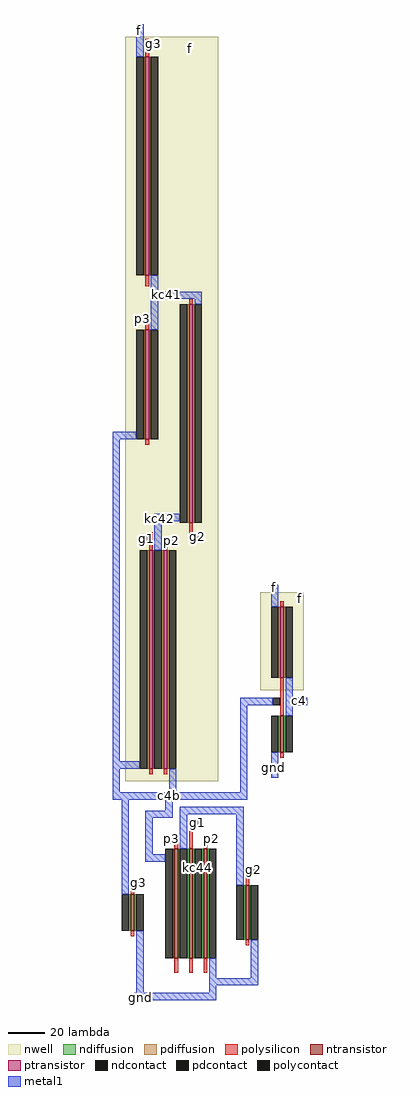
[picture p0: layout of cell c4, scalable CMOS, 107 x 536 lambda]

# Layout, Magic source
magic
tech scmos
<< nwell >>
rect -32 -266 19 143
rect 42 -216 66 -162
<< ntransistor >>
rect 53 -250 55 -230
rect -29 -348 -27 -328
rect -5 -363 -3 -303
rect 3 -363 5 -303
rect 11 -363 13 -303
rect 34 -353 36 -323
<< ptransistor >>
rect -21 12 -19 132
rect -21 -78 -19 -18
rect 3 -124 5 -4
rect -19 -259 -17 -139
rect -11 -259 -9 -139
rect 53 -209 55 -170
<< ndiffusion >>
rect 52 -250 53 -230
rect 55 -250 56 -230
rect -30 -348 -29 -328
rect -27 -348 -26 -328
rect -6 -363 -5 -303
rect -3 -363 -2 -303
rect 2 -363 3 -303
rect 5 -363 6 -303
rect 10 -363 11 -303
rect 13 -363 14 -303
rect 33 -353 34 -323
rect 36 -353 37 -323
<< pdiffusion >>
rect -22 12 -21 132
rect -19 12 -18 132
rect -22 -78 -21 -18
rect -19 -78 -18 -18
rect 2 -124 3 -4
rect 5 -124 6 -4
rect -20 -259 -19 -139
rect -17 -259 -16 -139
rect -12 -259 -11 -139
rect -9 -259 -8 -139
rect 52 -209 53 -170
rect 55 -209 56 -170
<< ndcontact >>
rect 48 -250 52 -230
rect 56 -250 60 -230
rect -34 -348 -30 -328
rect -26 -348 -22 -328
rect -10 -363 -6 -303
rect -2 -363 2 -303
rect 6 -363 10 -303
rect 14 -363 18 -303
rect 29 -353 33 -323
rect 37 -353 41 -323
<< pdcontact >>
rect -26 12 -22 132
rect -18 12 -14 132
rect -26 -78 -22 -18
rect -18 -78 -14 -18
rect -2 -124 2 -4
rect 6 -124 10 -4
rect -24 -259 -20 -139
rect -16 -259 -12 -139
rect -8 -259 -4 -139
rect 48 -209 52 -170
rect 56 -209 60 -170
<< polysilicon >>
rect -21 132 -19 142
rect -21 6 -19 12
rect 3 -4 5 -1
rect -21 -18 -19 -10
rect -21 -81 -19 -78
rect -19 -139 -17 -129
rect -11 -139 -9 -132
rect 3 -135 5 -124
rect 53 -170 55 -167
rect 53 -230 55 -209
rect 53 -253 55 -250
rect -19 -262 -17 -259
rect -11 -262 -9 -259
rect -5 -303 -3 -296
rect 3 -303 5 -287
rect 11 -303 13 -296
rect -29 -328 -27 -320
rect -29 -351 -27 -348
rect 34 -323 36 -313
rect 34 -356 36 -353
rect -5 -371 -3 -363
rect 3 -371 5 -363
rect 11 -371 13 -363
<< polycontact >>
rect -19 137 -15 141
rect -25 -14 -21 -10
rect -23 -135 -19 -131
rect -9 -136 -5 -132
rect 5 -134 9 -130
rect 49 -224 53 -220
rect -9 -300 -5 -296
rect 5 -291 9 -287
rect 13 -300 17 -296
rect -27 -324 -23 -320
rect 36 -317 40 -313
<< metal1 >>
rect -26 132 -22 150
rect -18 3 -14 12
rect -18 -1 10 3
rect -18 -18 -14 -1
rect 6 -4 10 -1
rect -39 -78 -26 -74
rect -39 -255 -35 -78
rect -16 -123 -2 -119
rect -16 -139 -12 -123
rect -39 -259 -24 -255
rect 48 -170 52 -158
rect 56 -220 60 -209
rect -39 -272 -35 -259
rect -8 -272 -4 -259
rect 31 -224 49 -220
rect 56 -224 68 -220
rect 31 -272 35 -224
rect 56 -230 60 -224
rect 48 -264 52 -250
rect -39 -276 35 -272
rect -34 -328 -30 -276
rect -10 -282 -6 -276
rect -21 -286 -6 -282
rect -2 -284 33 -280
rect -21 -306 -17 -286
rect -2 -303 2 -284
rect -21 -310 -10 -306
rect -26 -382 -22 -348
rect 29 -323 33 -284
rect 14 -374 18 -363
rect 37 -374 41 -353
rect 14 -378 41 -374
rect 14 -382 18 -378
rect -27 -386 18 -382
<< labels >>
rlabel metal1 -26 145 -23 148 5 f
rlabel nwell 2 135 5 138 1 f
rlabel metal1 -9 -275 -6 -272 1 c4b
rlabel metal1 -25 -386 -22 -383 1 gnd
rlabel ndcontact 6 -315 9 -312 1 kc44
rlabel metal1 48 -161 51 -158 1 f
rlabel nwell 62 -167 65 -164 7 f
rlabel metal1 62 -223 65 -220 7 c4
rlabel metal1 48 -260 51 -257 1 gnd
rlabel metal1 -11 0 -8 3 1 kc41
rlabel metal1 -15 -123 -11 -120 1 kc42
rlabel polycontact -18 138 -15 141 1 g3
rlabel polycontact -24 -13 -21 -10 1 p3
rlabel polycontact -22 -134 -19 -131 1 g1
rlabel polycontact -8 -135 -5 -132 1 p2
rlabel polycontact 6 -133 9 -130 1 g2
rlabel polycontact -26 -323 -23 -320 1 g3
rlabel polycontact 37 -316 40 -313 1 g2
rlabel polycontact -8 -299 -5 -296 1 p3
rlabel polycontact 6 -290 9 -287 1 g1
rlabel polycontact 14 -299 17 -296 1 p2
rlabel metal1 14 -283 17 -280 1 kc43
<< end >>
